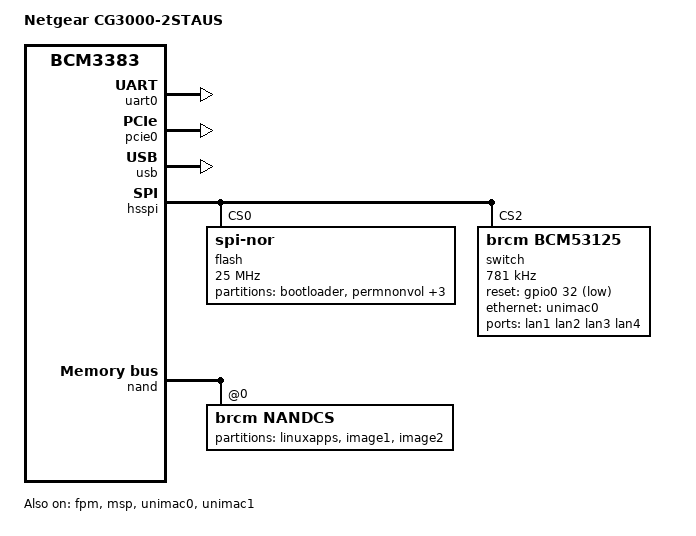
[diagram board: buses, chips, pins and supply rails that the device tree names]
// SPDX-License-Identifier: GPL-2.0-or-later

#include "bcm3383.dtsi"

/ {
	model = "Netgear CG3000-2STAUS";
	compatible = "netgear,cg3000-2staus", "brcm,bcm3383";
};

&uart0 {
	status = "okay";
};

&fpm {
	status = "okay";
};

&msp {
	status = "okay";
};

&unimac_mbdma {
	status = "okay";
};

&unimac0 {
	nvmem-cells = <&unimac0_ip_stack5_mac>;
	nvmem-cell-names = "mac-address";
	phy-mode = "rgmii-id";
	status = "okay";

	fixed-link {
		speed = <1000>;
		full-duplex;
		asym-pause;
		pause;
	};
};

&unimac1 {
	nvmem-cells = <&unimac1_ip_stack3_mac>;
	nvmem-cell-names = "mac-address";
	status = "okay";
};

&pcie0 {
	status = "okay";
};

&usb {
	status = "okay";
};

&leds {
	status = "okay";
	brcm,serial-dat-low;
	brcm,serial-shift-inv;

	gmac0_activity@5 {
		reg = <5>;
		brcm,hardware-controlled;
		brcm,activity-signal-sources = <4>;
	};
};

&hsspi {
	status = "okay";

	flash@0 {
		compatible = "jedec,spi-nor";
		reg = <0>;
		spi-max-frequency = <25000000>;

		partitions {
			compatible = "fixed-partitions";
			#address-cells = <1>;
			#size-cells = <1>;

			partition@0 {
				label = "bootloader";
				reg = <0x00000 0x10000>;
				read-only;
			};

			partition@10000 {
				label = "permnonvol";
				reg = <0x10000 0x10000>;
				read-only;

				nvmem-layout {
					compatible = "brcm,ecos-nonvol-perm";
					brcm,slot-size = <0x4000>;
					brcm,section-offset = <0xca>;

					unimac0_ip_stack5_mac: mac-address-lan {
						/*
						 * section + 0x0a -> CMAp
						 * CMAp + 0xb2 -> HAL IP Stack5 MAC
						 */
						brcm,record-path = <0x0a 0xb2>;
					};

					unimac1_ip_stack3_mac: mac-address-wan {
						/*
						 * section + 0x0a -> CMAp
						 * CMAp + 0x5c -> HAL IP Stack3 MAC
						 */
						brcm,record-path = <0x0a 0x5c>;
					};
				};
			};

			partition@20000 {
				label = "vendor-nonvol";
				reg = <0x20000 0x10000>;
				read-only;
			};

			partition@30000 {
				label = "vendor-nonvol-2";
				reg = <0x30000 0x10000>;
				read-only;
			};

			partition@c0000 {
				label = "dynnonvol";
				reg = <0xc0000 0x40000>;
				read-only;
			};
		};
	};

	switch@2 {
		compatible = "brcm,bcm53125";
		reg = <2>;
		spi-max-frequency = <781000>;
		spi-cpha;
		spi-cpol;
		pinctrl-names = "default";
		pinctrl-0 = <&pinctrl_hsspi_cs2>;
		reset-gpios = <&gpio0 32 GPIO_ACTIVE_LOW>;
		status = "okay";

		dsa,member = <0 0>;

		ports {
			#address-cells = <1>;
			#size-cells = <0>;

			port@1 {
				reg = <1>;
				label = "lan1";
			};

			port@2 {
				reg = <2>;
				label = "lan2";
			};

			port@3 {
				reg = <3>;
				label = "lan3";
			};

			port@4 {
				reg = <4>;
				label = "lan4";
			};

			port@8 {
				reg = <8>;
				ethernet = <&unimac0>;
				phy-mode = "rgmii-id";

				fixed-link {
					speed = <1000>;
					full-duplex;
					asym-pause;
					pause;
				};
			};
		};
	};
};

&nand {
	status = "okay";

	nandcs@0 {
		compatible = "brcm,nandcs";
		reg = <0>;
		brcm,nand-ecc-use-strap;

		#address-cells = <1>;
		#size-cells = <1>;

		partitions {
			compatible = "fixed-partitions";
			#address-cells = <1>;
			#size-cells = <1>;

			partition@0 {
				label = "linuxapps";
				reg = <0x00000000 0x1f40000>;
				read-only;
			};

			partition@1f40000 {
				label = "image1";
				reg = <0x01f40000 0x00900000>;
			};

			partition@2840000 {
				compatible = "linux,ubi";
				label = "image2";
				reg = <0x02840000 0x057c0000>;
			};
		};
	};
};
